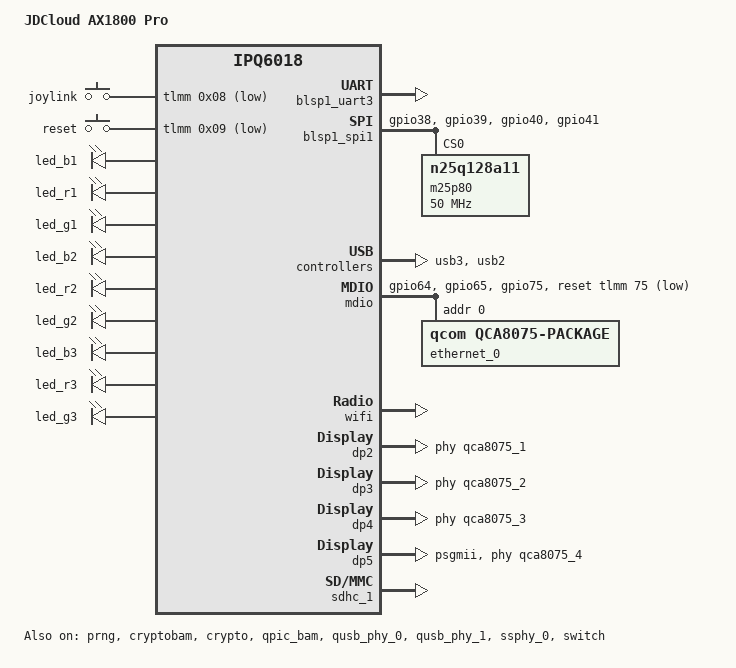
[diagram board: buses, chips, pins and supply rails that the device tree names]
/dts-v1/;
/*
 * Copyright (c) 2019, The Linux Foundation. All rights reserved.
 *
 * Permission to use, copy, modify, and/or distribute this software for any
 * purpose with or without fee is hereby granted, provided that the above
 * copyright notice and this permission notice appear in all copies.
 *
 * THE SOFTWARE IS PROVIDED "AS IS" AND THE AUTHOR DISCLAIMS ALL WARRANTIES
 * WITH REGARD TO THIS SOFTWARE INCLUDING ALL IMPLIED WARRANTIES OF
 * MERCHANTABILITY AND FITNESS. IN NO EVENT SHALL THE AUTHOR BE LIABLE FOR
 * ANY SPECIAL, DIRECT, INDIRECT, OR CONSEQUENTIAL DAMAGES OR ANY DAMAGES
 * WHATSOEVER RESULTING FROM LOSS OF USE, DATA OR PROFITS, WHETHER IN AN
 * ACTION OF CONTRACT, NEGLIGENCE OR OTHER TORTIOUS ACTION, ARISING OUT OF
 * OR IN CONNECTION WITH THE USE OR PERFORMANCE OF THIS SOFTWARE.
 */

#include "ipq6018.dtsi"
#include "ipq6018-512m.dtsi"
#include "ipq6018-ess.dtsi"


#include <dt-bindings/input/input.h>
#include <dt-bindings/gpio/gpio.h>
#include <dt-bindings/leds/common.h>

/ {
    model = "JDCloud AX1800 Pro";
	compatible = "jdc,ax1800-pro", "qcom,ipq6018-cp03", "qcom,ipq6018";

	aliases {
		sdhc1 = &sdhc_1;
		serial0 = &blsp1_uart3;
		led-boot = &led_red_1;
		led-failsafe = &led_red_1;
		led-running = &led_green_1;
		led-upgrade = &led_green_1;
		ethernet1 = &dp2;
		ethernet2 = &dp3;
		ethernet3 = &dp4;
		ethernet4 = &dp5;
	};

	chosen {
		bootargs = "console=ttyMSM0,115200,n8";
		bootargs-append = " rootfstype=squashfs,ext4 swiotlb=1 coherent_pool=2M swiotlb=1";
	};

    gpio_keys {
        compatible = "gpio-keys";
        status = "okay";

        joylink {
            label = "joylink";
            linux,code = <0x211>;
            gpios = <&tlmm 0x08 GPIO_ACTIVE_LOW>;
            linux,input-type = <0x01>;
            debounce-interval = <0x3c>;
        };

        reset {
            label = "reset";
            linux,code = <0x198>;
            gpios = <&tlmm 0x09 GPIO_ACTIVE_LOW>;
            linux,input-type = <0x01>;
            debounce-interval = <0x3c>;
        };
    };
    
    leds {
        compatible = "gpio-leds";

        led_blue_1: led@35 {
            label = "led_b1";
            gpio = <&tlmm 0x23 GPIO_ACTIVE_HIGH>;
        };

       led_red_1: led@37 {
            label = "led_r1";
            gpio = <&tlmm 0x25 GPIO_ACTIVE_HIGH>;
        };

        led_green_1: led@50 {
            label = "led_g1";
            gpio = <&tlmm 0x32 GPIO_ACTIVE_HIGH>;
        };

        led_blue_2: led@30 {
            label = "led_b2";
            gpio = <&tlmm 0x1e GPIO_ACTIVE_HIGH>;
        };

        led_red_2: led@32 {
            label = "led_r2";
            gpio = <&tlmm 0x20 GPIO_ACTIVE_HIGH>;
        };

        led_green_2: led@33 {
            label = "led_g2";
            gpio = <&tlmm 0x21 GPIO_ACTIVE_HIGH>;
        };

        led_blue_3:led@31 {
            label = "led_b3";
            gpio = <&tlmm 0x1f GPIO_ACTIVE_HIGH>;
        };

        led_red_3: led@29 {
            label = "led_r3";
            gpio = <&tlmm 0x1d GPIO_ACTIVE_HIGH>;
        };

        led_green_3: led@34 {
            label = "led_g3";
            gpio = <&tlmm 0x22 GPIO_ACTIVE_HIGH>;
        };
    };
};

&tlmm {
    compatible = "qcom,ipq6000-pinctrl";

    spi_1_pins: spi_1_pins {
        mux {
            pins = "gpio38","gpio39","gpio40","gpio41";
            function = "blsp0_spi";
            drive-strength = <0x08>;
            bias-pull-down;
        };
    };

    button_pins: button_pins {
        joylink_button {
            pins = "gpio8";
            function = "gpio";
            drive-strength = <0x08>;
            bias-pull-up;
        };

        reset_button {
            pins = "gpio9";
            function = "gpio";
            drive-strength = <0x08>;
            bias-pull-up;
        };
    };

    mdio_pinmux: mdio_pinmux {
        mux_0 {
            pins = "gpio64";
            function = "mdc";
            drive-strength = <0x08>;
            bias-pull-up;
        };

        mux_1 {
            pins = "gpio65";
            function = "mdio";
            drive-strength = <0x08>;
            bias-pull-up;
        };

        mux_2 {
            pins = "gpio75";
            function = "gpio";
            bias-pull-up;
        };
    };

    leds_pins: leds_pins {
        led_b1 {
            pins = "gpio35";
            function = "gpio";
            drive-strength = <0x08>;
            bias-pull-down;
        };

        led_r1 {
            pins = "gpio37";
            function = "gpio";
            drive-strength = <0x08>;
            bias-pull-down;
        };

        led_g1 {
            pins = "gpio50";
            function = "gpio";
            drive-strength = <0x08>;
            bias-pull-down;
        };

        led_b2 {
            pins = "gpio30";
            function = "gpio";
            drive-strength = <0x08>;
            bias-pull-down;
        };

        led_r2 {
            pins = "gpio32";
            function = "gpio";
            drive-strength = <0x08>;
            bias-pull-down;
        };

        led_g2 {
            pins = "gpio33";
            function = "gpio";
            drive-strength = <0x08>;
            bias-pull-down;
        };

        led_b3 {
            pins = "gpio31";
            function = "gpio";
            drive-strength = <0x08>;
            bias-pull-down;
        };

        led_r3 {
            pins = "gpio29";
            function = "gpio";
            drive-strength = <0x08>;
            bias-pull-down;
        };

        led_g3 {
            pins = "gpio34";
            function = "gpio";
            drive-strength = <0x08>;
            bias-pull-down;
        };
    };
};


&blsp1_uart3 {
	pinctrl-0 = <&serial_3_pins>;
	pinctrl-names = "default";
	status = "okay";
};

&blsp1_spi1 {
	pinctrl-0 = <&spi_1_pins>;
	pinctrl-names = "default";
	cs-select = <0>;
	status = "okay";

	m25p80@0 {
		#address-cells = <1>;
		#size-cells = <1>;
		reg = <0>;
		compatible = "n25q128a11";
		linux,modalias = "m25p80", "n25q128a11";
		spi-max-frequency = <50000000>;
		use-default-sizes;
	};
};

&prng {
	status = "okay";
};

&cryptobam {
	status = "okay";
};

&crypto {
	status = "okay";
};

&qpic_bam {
	status = "okay";
};

&qusb_phy_0 {
	status = "okay";
};

&qusb_phy_1 {
	status = "okay";
};


&ssphy_0 {
	status = "okay";
};

&usb3 {
	status = "okay";
};

&usb2 {
	status = "okay";
};

&edma {
	status = "okay";
};

&rpm {
	status = "disabled";
};

&mdio {
	status = "okay";

	pinctrl-0 = <&mdio_pinmux>;
	pinctrl-names = "default";
	reset-gpios = <&tlmm 75 GPIO_ACTIVE_LOW>;

    ethernet_0: ethernet-phy-package@0 {
        compatible = "qcom,qca8075-package";
        #address-cells = <1>;
        #size-cells = <0>;
        reg = <0>;
		qcom,package-mode = "psgmii";

        qca8075_1: ethernet-phy@1 {
            compatible = "ethernet-phy-ieee802.3-c22";
            reg = <1>;
        };

        qca8075_2: ethernet-phy@2 {
            compatible = "ethernet-phy-ieee802.3-c22";
            reg = <2>;
        };

        qca8075_3: ethernet-phy@3 {
            compatible = "ethernet-phy-ieee802.3-c22";
            reg = <3>;
        };

        qca8075_4: ethernet-phy@4 {
            compatible = "ethernet-phy-ieee802.3-c22";
            reg = <4>;
        };
    };
};

&switch {
	status = "okay";

    switch_lan_bmp = <(ESS_PORT3 | ESS_PORT4 | ESS_PORT5)>; /* lan port bitmap */
	switch_wan_bmp = <ESS_PORT2>; /* wan port bitmap */

	qcom,port_phyinfo {
        port@1 {
            port_id = <2>;
            phy_address = <1>;
        };

        port@2 {
            port_id = <3>;
            phy_address = <2>;
        };

        port@3 {
            port_id = <4>;
            phy_address = <3>;
        };

        port@4 {
            port_id = <5>;
            phy_address = <4>;
        };
	};
};

&qpic_bam {
	status = "okay";
};

&wifi {
	status = "okay";
    qcom,ath11k-calibration-variant = "JDC-AX1800-Pro";
	qcom,ath11k-fw-memory-mode = <1>;
};


&dp2 {
    phy-handle = <&qca8075_1>;
    status = "okay";
};

&dp3 {
    phy-handle = <&qca8075_2>;
    status = "okay";
};

&dp4 {
    phy-handle = <&qca8075_3>;
    status = "okay";
};

&dp5 {
    phy-handle = <&qca8075_4>;
	phy-mode = "psgmii";
    status = "okay";
};

&sdhc_1 {
	status = "okay";

	/delete-property/ mmc-hs400-1_8v;
	mmc-hs200-1_8v;
	mmc-ddr-1_8v;
};

&CPU0 {
	/delete-property/ cpu-supply;
};

&CPU1 {
	/delete-property/ cpu-supply;
};

&CPU2 {
	/delete-property/ cpu-supply;
};

&CPU3 {
	/delete-property/ cpu-supply;
};
